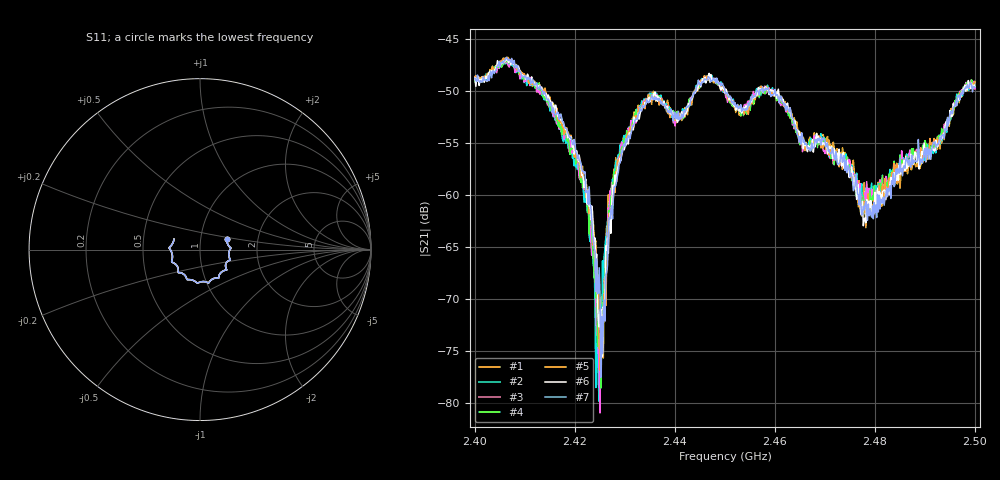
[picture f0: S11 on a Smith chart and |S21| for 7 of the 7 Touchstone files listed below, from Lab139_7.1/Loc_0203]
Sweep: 2.4 GHz to 2.5 GHz
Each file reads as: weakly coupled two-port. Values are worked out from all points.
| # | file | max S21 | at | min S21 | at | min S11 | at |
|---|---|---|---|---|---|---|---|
| 1 | Lab_139_2Ch1.s2p | -46.92 dB | 2.4062 GHz | -74.4 dB | 2.425 GHz | -15.8 dB | 2.4992 GHz |
| 2 | Lab_139_3Ch1.s2p | -46.96 dB | 2.4058 GHz | -79.8 dB | 2.4248 GHz | -15.8 dB | 2.4993 GHz |
| 3 | Lab_139_4Ch1.s2p | -47.05 dB | 2.4073 GHz | -80.9 dB | 2.425 GHz | -15.8 dB | 2.499 GHz |
| 4 | Lab_139_5Ch1.s2p | -47.01 dB | 2.4063 GHz | -78.6 dB | 2.4252 GHz | -15.8 dB | 2.4993 GHz |
| 5 | Lab_139_7Ch1.s2p | -46.78 dB | 2.4065 GHz | -76.8 dB | 2.425 GHz | -15.8 dB | 2.4995 GHz |
| 6 | Lab_139_9Ch1.s2p | -46.94 dB | 2.4062 GHz | -75.5 dB | 2.4255 GHz | -15.8 dB | 2.499 GHz |
| 7 | Lab_139_10Ch1.s2p | -46.79 dB | 2.4063 GHz | -77.5 dB | 2.4252 GHz | -15.8 dB | 2.4993 GHz |
